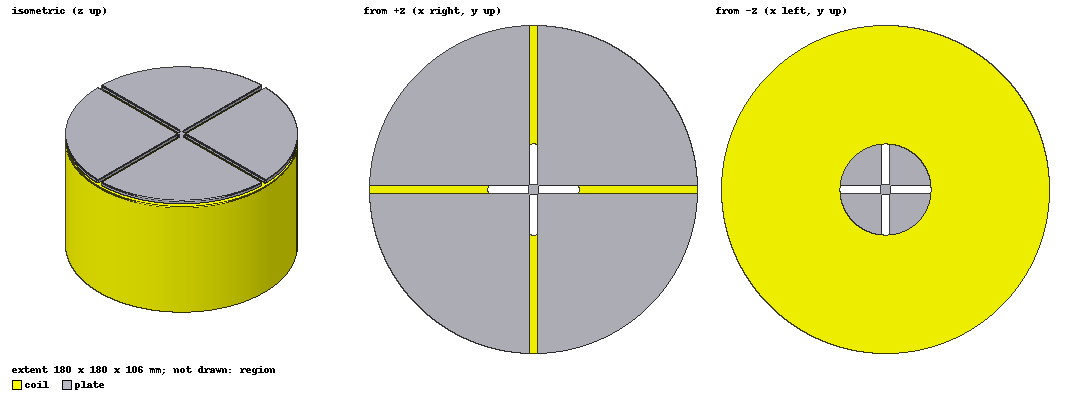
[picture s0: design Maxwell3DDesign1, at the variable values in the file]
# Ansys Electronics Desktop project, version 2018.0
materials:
  vacuum: permittivity=1
  air: permittivity=1.0006 permeability=1.0000004
  aluminum: permeability=1.000021 conductivity=38000000

design Maxwell3DDesign1 (Maxwell 3D, EddyCurrent, model units mm)
options: Multiplier=1
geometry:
  coil [aluminum] = rectangle(corner=(0mm, 25mm, 0mm), y_size=65mm, z_size=100mm)
  coil.sweep_around_axis(axis=Z, angle=360deg)
  plate [aluminum] = rectangle(corner=(0mm, 0mm, 103mm), y_size=90mm, z_size=3mm)
  plate.sweep_around_axis(axis=Z, angle=360deg)
  region [air] = cylinder(axis=Z, base_centre=(0mm, 0mm, -300mm), radius=300mm, height=600mm)
  coil_Section1 [aluminum] = coil.section(plane=YZ)
  coil_Section1_Separate1 [aluminum] = coil_Section1.separate_bodies()
  Box1 = box(corner=(-2mm, 3mm, 103mm), size=(4mm, 87mm, 3mm))
  Box1_1, Box1_2, Box1_3 = Box1.duplicate_around_axis(axis=Z, angle=90deg, total=4)
  plate.subtract(Box1, Box1_1, Box1_2, Box1_3)
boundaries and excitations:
  Current1: Current Objects=coil_Section1 Phase=0deg Current=13200A IsSolid=false Point_out_of_terminal=false
  eddy effects on: plate
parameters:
  Force1: Force Reference_CS=Global Is_Virtual=false Objects=plate
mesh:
  initial mesh: GlobalCurvilinear{Apply}
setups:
  Setup1: EddyCurrent MaximumPasses=10 MinimumPasses=2 MinimumConvergedPasses=1 PercentRefinement=30 PercentError=1 NonLinearResidual=0.0001 Frequency=50Hz
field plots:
  Vector_J1: J in plate on Setup1 : LastAdaptive at Freq=50Hz Phase=0deg
